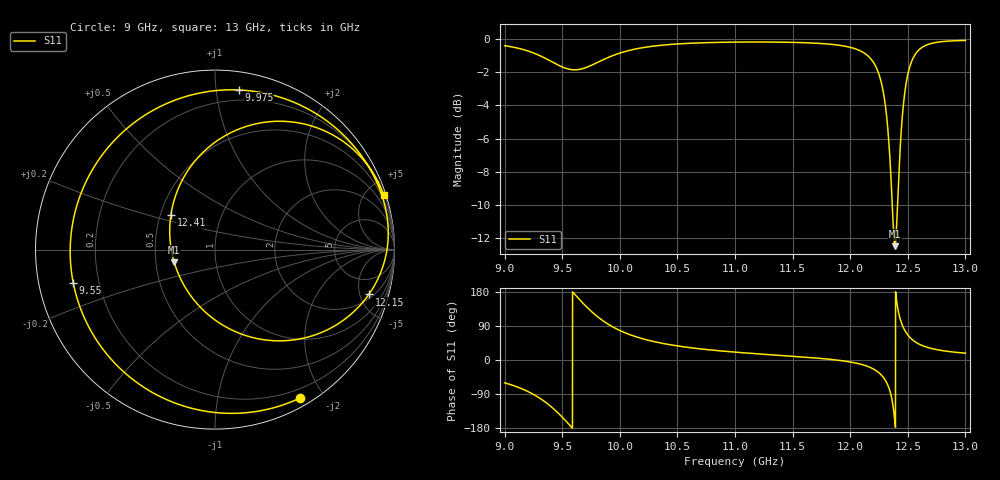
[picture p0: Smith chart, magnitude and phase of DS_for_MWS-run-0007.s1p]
! TOUCHSTONE file generated by CST DESIGN STUDIO
! Date and time: Tue Feb  4 16:13:18 2025
! Project name: C:\Work\MatlabApps\UnitCellOptimizationMatlab\CST\unitcell.cst
! Tree item: Tasks\Sweep1\SPara1\S-Parameters
! Header version: 2024
! Port assignment regex: !\s*Touchstone port\s*([0-9]+)\s*=\s*(CST MWS port|CST DES external port|CST DES block port)\s*(.+)\s* \(\"(.*)\"\)(\s*mode\s*([0-9]+))?.*
! Touchstone port assignment:
! Touchstone port 1 = CST DES external port 1 ("")
# GHz S MA R 50
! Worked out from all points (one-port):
!   4001 points, 9 GHz to 13 GHz, reference 50 ohm
!   lowest |S11| = -12.5 dB at 12.39 GHz (marker M1), VSWR 1.62, Z = 31.2 - j4.64 ohm
!   |S11| at or under -10 dB: 12.36532 GHz to 12.41059 GHz (45.26 MHz wide, 0.365 % of centre)
!   S11 on the Smith chart (normalised r, x): 9 GHz: 0.10, -1.72; 9.55 GHz: 0.11, -0.11; 9.975 GHz: 0.12, +1.15; 12.15 GHz: 2.45, -6.04; 12.41 GHz: 0.57, +0.24; 13 GHz: 0.24, +6.28
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9  0.953 -60.2
9.151  0.93 -76.1
9.302  0.8907 -100.2
9.403  0.8554 -123.0
9.5  0.8227 -150.7
9.55  0.8114 -166.8
9.647  0.8084 160.7
9.764  0.8352 125.3
9.86  0.8662 102.2
9.975  0.8992 81.5
10  0.9053 77.9
10.217  0.9422 54.5
10.5  0.9645 37.2
11  0.9769 20.8
11.5  0.9751 9.9
12  0.9422 -5.2
12.146  0.8929 -16.2
12.243  0.7936 -32.1
12.314  0.5943 -58.5
12.352  0.3945 -89.5
12.388  0.2379 -162.9
12.41  0.3127 141.8
12.453  0.5868 91.5
12.5  0.7803 66.1
12.567  0.9003 47.3
12.655  0.9549 34.8
12.787  0.9794 25.4
13  0.9881 18.1
